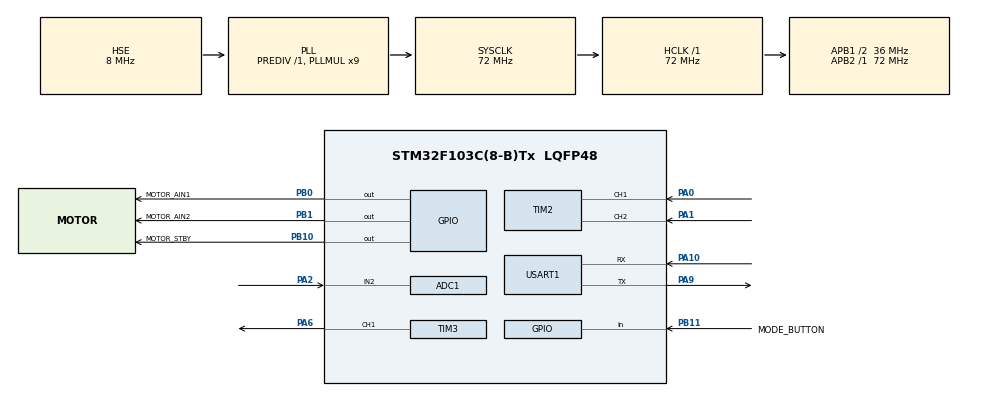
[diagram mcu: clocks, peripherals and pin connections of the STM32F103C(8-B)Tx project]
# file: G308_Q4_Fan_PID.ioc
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ADC1.Channel-0\#ChannelRegularConversion=ADC_CHANNEL_2
ADC1.ContinuousConvMode=ENABLE
ADC1.NbrOfConversionFlag=1
ADC1.Rank-0\#ChannelRegularConversion=1
ADC1.SamplingTime-0\#ChannelRegularConversion=ADC_SAMPLETIME_55CYCLES_5
ADC1.master=1
Dma.ADC1.0.Direction=DMA_PERIPH_TO_MEMORY
Dma.ADC1.0.Instance=DMA1_Channel1
Dma.ADC1.0.MemDataAlignment=DMA_MDATAALIGN_HALFWORD
Dma.ADC1.0.MemInc=DMA_MINC_DISABLE
Dma.ADC1.0.Mode=DMA_CIRCULAR
Dma.ADC1.0.PeriphDataAlignment=DMA_PDATAALIGN_HALFWORD
Dma.ADC1.0.PeriphInc=DMA_PINC_DISABLE
Dma.ADC1.0.Priority=DMA_PRIORITY_LOW
Dma.Request0=ADC1
FREERTOS.Mutexes01=DataMutex,Dynamic,NULL,Available
FREERTOS.Tasks01=ControlTask,1,384,StartControlTask,Default,NULL,Dynamic,NULL,NULL;TelemetryTask,0,256,StartTelemetryTask,Default,NULL,Dynamic,NULL,NULL
FREERTOS.configTOTAL_HEAP_SIZE=8192
Mcu.Family=STM32F1
Mcu.Name=STM32F103C(8-B)Tx
Mcu.Package=LQFP48
NVIC.DMA1_Channel1_IRQn=true\:5\:0\:false\:false\:true\:true\:false\:true\:true
NVIC.PriorityGroup=NVIC_PRIORITYGROUP_4
NVIC.TIM4_IRQn=true\:15\:0\:false\:false\:true\:false\:false\:true\:true
NVIC.TimeBase=TIM4_IRQn
NVIC.TimeBaseIP=TIM4
PA0-WKUP.Signal=S_TIM2_CH1_ETR
PA1.Signal=S_TIM2_CH2
PA10.Mode=Asynchronous
PA10.Signal=USART1_RX
PA13.Mode=Serial_Wire
PA13.Signal=SYS_JTMS-SWDIO
PA14.Mode=Serial_Wire
PA14.Signal=SYS_JTCK-SWCLK
PA2.Signal=ADCx_IN2
PA6.Signal=S_TIM3_CH1
PA9.Mode=Asynchronous
PA9.Signal=USART1_TX
PB0.GPIO_Label=MOTOR_AIN1
PB0.Signal=GPIO_Output
PB1.GPIO_Label=MOTOR_AIN2
PB1.Signal=GPIO_Output
PB10.GPIO_Label=MOTOR_STBY
PB10.Signal=GPIO_Output
PB11.GPIO_Label=MODE_BUTTON
PB11.GPIO_PuPd=GPIO_PULLUP
PB11.Signal=GPIO_Input
PD0-OSC_IN.Mode=HSE-External-Oscillator
PD0-OSC_IN.Signal=RCC_OSC_IN
PD1-OSC_OUT.Mode=HSE-External-Oscillator
PD1-OSC_OUT.Signal=RCC_OSC_OUT
ProjectManager.HeapSize=0x200
ProjectManager.StackSize=0x400
ProjectManager.TargetToolchain=CMake
RCC.ADCPresc=RCC_ADCPCLK2_DIV6
RCC.AHBFreq_Value=72000000
RCC.APB1CLKDivider=RCC_HCLK_DIV2
RCC.APB1Freq_Value=36000000
RCC.APB1TimFreq_Value=72000000
RCC.APB2Freq_Value=72000000
RCC.APB2TimFreq_Value=72000000
RCC.HCLKFreq_Value=72000000
RCC.PLLMUL=RCC_PLL_MUL9
RCC.PLLSourceVirtual=RCC_PLLSOURCE_HSE
RCC.SYSCLKFreq_VALUE=72000000
RCC.SYSCLKSource=RCC_SYSCLKSOURCE_PLLCLK
RCC.USBFreq_Value=72000000
SH.ADCx_IN2.0=ADC1_IN2,IN2
SH.S_TIM2_CH1_ETR.0=TIM2_CH1,Encoder_Interface
SH.S_TIM2_CH2.0=TIM2_CH2,Encoder_Interface
SH.S_TIM3_CH1.0=TIM3_CH1,PWM Generation1 CH1
TIM2.EncoderMode=TIM_ENCODERMODE_TI12
TIM2.IC1Filter=6
TIM2.IC2Filter=6
TIM3.AutoReloadPreload=TIM_AUTORELOAD_PRELOAD_ENABLE
TIM3.Channel-PWM\ Generation1\ CH1=TIM_CHANNEL_1
TIM3.OC1Preload_PWM=ENABLE
TIM3.Period=3599
USART1.VirtualMode=VM_ASYNC
VP_FREERTOS_VS_CMSIS_V1.Mode=CMSIS_V1
VP_SYS_VS_tim4.Mode=TIM4
VP_TIM3_VS_ClockSourceINT.Mode=Internal
board=custom

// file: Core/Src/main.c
/* USER CODE BEGIN Header */
/**
  ******************************************************************************
  * @file           : main.c
  * @brief          : Main program body
  ******************************************************************************
  * @attention
  *
  * Copyright (c) 2026 STMicroelectronics.
  * All rights reserved.
  *
  * This software is licensed under terms that can be found in the LICENSE file
  * in the root directory of this software component.
  * If no LICENSE file comes with this software, it is provided AS-IS.
  *
  ******************************************************************************
  */
/* USER CODE END Header */
#include "main.h"
#include "cmsis_os.h"
#include "adc.h"
#include "dma.h"
#include "tim.h"
#include "usart.h"
#include "gpio.h"

void SystemClock_Config(void);
void MX_FREERTOS_Init(void);

int main(void)
{

  /* MCU Configuration--------------------------------------------------------*/

  /* Reset of all peripherals, Initializes the Flash interface and the Systick. */
  HAL_Init();

  /* Configure the system clock */
  SystemClock_Config();

  /* Initialize all configured peripherals */
  MX_GPIO_Init();
  MX_DMA_Init();
  MX_ADC1_Init();
  MX_TIM2_Init();
  MX_TIM3_Init();
  MX_USART1_UART_Init();

  /* Call init function for freertos objects (in cmsis_os2.c) */
  MX_FREERTOS_Init();

  /* Start scheduler */
  osKernelStart();

  /* We should never get here as control is now taken by the scheduler */

  /* Infinite loop */
  while (1)
  {

  }
}

void SystemClock_Config(void)
{
  RCC_OscInitTypeDef RCC_OscInitStruct = {0};
  RCC_ClkInitTypeDef RCC_ClkInitStruct = {0};
  RCC_PeriphCLKInitTypeDef PeriphClkInit = {0};

  /** Initializes the RCC Oscillators according to the specified parameters
  * in the RCC_OscInitTypeDef structure.
  */
  RCC_OscInitStruct.OscillatorType = RCC_OSCILLATORTYPE_HSE;
  RCC_OscInitStruct.HSEState = RCC_HSE_ON;
  RCC_OscInitStruct.HSEPredivValue = RCC_HSE_PREDIV_DIV1;
  RCC_OscInitStruct.HSIState = RCC_HSI_ON;
  RCC_OscInitStruct.PLL.PLLState = RCC_PLL_ON;
  RCC_OscInitStruct.PLL.PLLSource = RCC_PLLSOURCE_HSE;
  RCC_OscInitStruct.PLL.PLLMUL = RCC_PLL_MUL9;
  if (HAL_RCC_OscConfig(&RCC_OscInitStruct) != HAL_OK)
  {
    Error_Handler();
  }

  /** Initializes the CPU, AHB and APB buses clocks
  */
  RCC_ClkInitStruct.ClockType = RCC_CLOCKTYPE_HCLK|RCC_CLOCKTYPE_SYSCLK
                              |RCC_CLOCKTYPE_PCLK1|RCC_CLOCKTYPE_PCLK2;
  RCC_ClkInitStruct.SYSCLKSource = RCC_SYSCLKSOURCE_PLLCLK;
  RCC_ClkInitStruct.AHBCLKDivider = RCC_SYSCLK_DIV1;
  RCC_ClkInitStruct.APB1CLKDivider = RCC_HCLK_DIV2;
  RCC_ClkInitStruct.APB2CLKDivider = RCC_HCLK_DIV1;

  if (HAL_RCC_ClockConfig(&RCC_ClkInitStruct, FLASH_LATENCY_2) != HAL_OK)
  {
    Error_Handler();
  }
  PeriphClkInit.PeriphClockSelection = RCC_PERIPHCLK_ADC;
  PeriphClkInit.AdcClockSelection = RCC_ADCPCLK2_DIV6;
  if (HAL_RCCEx_PeriphCLKConfig(&PeriphClkInit) != HAL_OK)
  {
    Error_Handler();
  }
}

void HAL_TIM_PeriodElapsedCallback(TIM_HandleTypeDef *htim)
{
  if (htim->Instance == TIM4)
  {
    HAL_IncTick();
  }
}

void Error_Handler(void)
{
  __disable_irq();
  while (1)
  {
  }
}

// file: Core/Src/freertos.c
/* USER CODE BEGIN Header */
/**
  ******************************************************************************
  * File Name          : freertos.c
  * Description        : Code for freertos applications
  ******************************************************************************
  * @attention
  *
  * Copyright (c) 2026 STMicroelectronics.
  * All rights reserved.
  *
  * This software is licensed under terms that can be found in the LICENSE file
  * in the root directory of this software component.
  * If no LICENSE file comes with this software, it is provided AS-IS.
  *
  ******************************************************************************
  */
/* USER CODE END Header */

#include "FreeRTOS.h"
#include "task.h"
#include "main.h"
#include "cmsis_os.h"

/* USER CODE BEGIN Includes */
#include "fan_control.h"
/* USER CODE END Includes */

/* USER CODE BEGIN Variables */
/* 两个任务通过互斥量共享这份最新状态，避免发送到一半时数据被更新。 */
static FanTelemetry_t g_latest_telemetry = {0};
/* USER CODE END Variables */
osThreadId ControlTaskHandle;
osThreadId TelemetryTaskHandle;
osMutexId DataMutexHandle;

void StartControlTask(void const * argument);
void StartTelemetryTask(void const * argument);

void MX_FREERTOS_Init(void); /* (MISRA C 2004 rule 8.1) */

/* GetIdleTaskMemory prototype (linked to static allocation support) */
void vApplicationGetIdleTaskMemory( StaticTask_t **ppxIdleTaskTCBBuffer, StackType_t **ppxIdleTaskStackBuffer, uint32_t *pulIdleTaskStackSize );

/* USER CODE BEGIN GET_IDLE_TASK_MEMORY */
static StaticTask_t xIdleTaskTCBBuffer;
static StackType_t xIdleStack[configMINIMAL_STACK_SIZE];

void vApplicationGetIdleTaskMemory( StaticTask_t **ppxIdleTaskTCBBuffer, StackType_t **ppxIdleTaskStackBuffer, uint32_t *pulIdleTaskStackSize )
{
  *ppxIdleTaskTCBBuffer = &xIdleTaskTCBBuffer;
  *ppxIdleTaskStackBuffer = &xIdleStack[0];
  *pulIdleTaskStackSize = configMINIMAL_STACK_SIZE;
  /* place for user code */
}
/* USER CODE END GET_IDLE_TASK_MEMORY */

void MX_FREERTOS_Init(void) {
  /* Create the mutex(es) */
  /* definition and creation of DataMutex */
  osMutexDef(DataMutex);
  DataMutexHandle = osMutexCreate(osMutex(DataMutex));

  /* USER CODE BEGIN RTOS_MUTEX */
  /* 互斥量创建失败时不启动控制系统。 */
  if (DataMutexHandle == NULL)
  {
    Error_Handler();
  }
  /* USER CODE END RTOS_MUTEX */

  /* Create the thread(s) */
  /* definition and creation of ControlTask */
  osThreadDef(ControlTask, StartControlTask, osPriorityAboveNormal, 0, 384);
  ControlTaskHandle = osThreadCreate(osThread(ControlTask), NULL);

  /* definition and creation of TelemetryTask */
  osThreadDef(TelemetryTask, StartTelemetryTask, osPriorityNormal, 0, 256);
  TelemetryTaskHandle = osThreadCreate(osThread(TelemetryTask), NULL);

  /* USER CODE BEGIN RTOS_THREADS */
  if (ControlTaskHandle == NULL || TelemetryTaskHandle == NULL)
  {
    Error_Handler();
  }
  /* USER CODE END RTOS_THREADS */

}

void StartControlTask(void const * argument)
{
  /* USER CODE BEGIN StartControlTask */
  FanTelemetry_t new_telemetry;

  (void)argument;

  if (!FanControl_Init())
  {
    /* 任一外设启动失败都保持 STBY 为低，防止电机误转。 */
    FanControl_ForceStop();
    for (;;)
    {
      osDelay(1000U);
    }
  }

  for(;;)
  {
    FanControl_Update(&new_telemetry);

    if (osMutexWait(DataMutexHandle, osWaitForever) == osOK)
    {
      g_latest_telemetry = new_telemetry;
      (void)osMutexRelease(DataMutexHandle);
    }

    /* 当前 FreeRTOS 配置保留普通延时接口，控制任务按 10 ms 周期运行。 */
    osDelay(10U);
  }
  /* USER CODE END StartControlTask */
}

void StartTelemetryTask(void const * argument)
{
  /* USER CODE BEGIN StartTelemetryTask */
  FanTelemetry_t telemetry_copy = {0};

  (void)argument;
  osDelay(100U);

  for(;;)
  {
    if (osMutexWait(DataMutexHandle, osWaitForever) == osOK)
    {
      telemetry_copy = g_latest_telemetry;
      (void)osMutexRelease(DataMutexHandle);
    }

    /* 20 Hz 刷新足够观察 PID 曲线，也不会让串口长期占用 CPU。 */
    FanControl_SendTelemetry(&telemetry_copy);
    osDelay(50U);
  }
  /* USER CODE END StartTelemetryTask */
}
